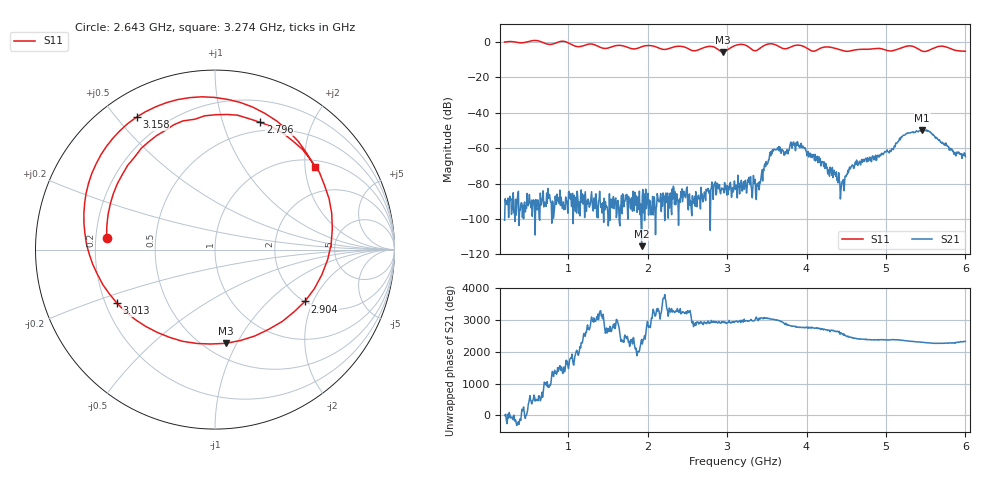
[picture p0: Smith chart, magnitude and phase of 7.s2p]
! NanoVNA-App
! Date: 2024-06-25 16:14:26
! Start: 200MHz Stop: 6GHz Points: 801
! S-Parameter data: F S11 S21 S12 S22
# Hz S RI R 50
!  Frequency  S11_Real  S11_Imag  S21_Real  S21_Imag  S12_Real  S12_Imag  S22_Real  S22_Imag
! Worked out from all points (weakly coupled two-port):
!   801 points, 200 MHz to 6 GHz, reference 50 ohm
!   highest |S21| = -49.66 dB at 5.456 GHz (marker M1); lowest = -115.4 dB at 1.925 GHz (marker M2)
!   lowest |S11| = -5.6 dB at 2.948 GHz (marker M3), VSWR 3.22, Z = 31.3 - j45.1 ohm
!   |S11| at or under -10 dB: nowhere
!   S12 and S22 are empty: the file has one direction only
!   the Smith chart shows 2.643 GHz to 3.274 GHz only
!   S11 on the Smith chart (normalised r, x): 2.643 GHz: 0.24, +0.05; 2.796 GHz: 0.41, +1.34; 2.904 GHz: 2.00, -1.74; 3.013 GHz: 0.25, -0.24; 3.158 GHz: 0.10, +0.57; 3.274 GHz: 1.18, +2.26
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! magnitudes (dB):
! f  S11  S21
! 200 MHz  0.0  -100.7
! 1.171 GHz  -2.3  -90.6
! 1.925 GHz  -2.6  -115.4
! 2.136 GHz  -3.3  -89.7
! 2.643 GHz  -4.3  -86.6
! 2.796 GHz  -2.5  -83.5
! 2.904 GHz  -4.8  -80.7
! 2.948 GHz  -5.6  -83.1
! 3.013 GHz  -4.1  -86.1
! 3.1 GHz  -2.0  -82.0
! 3.158 GHz  -1.3  -85.9
! 3.274 GHz  -2.8  -76.5
! 3.397 GHz  -4.1  -79.3
! 3.622 GHz  -1.8  -60.7
! 3.861 GHz  -1.9  -61.4
! 4.072 GHz  -5.1  -65.3
! 4.449 GHz  -4.7  -78.9
! 4.601 GHz  -4.5  -70.9
! 5.036 GHz  -5.0  -62.2
! 5.239 GHz  -2.6  -52.6
! 5.456 GHz  -5.1  -49.7
! 6 GHz  -5.2  -64.8
